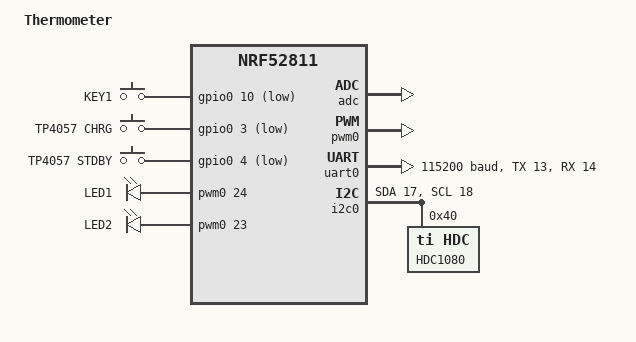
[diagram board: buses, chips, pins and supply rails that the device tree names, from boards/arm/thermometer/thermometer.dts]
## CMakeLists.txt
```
cmake_minimum_required(VERSION 3.20.0)

set(BOARD_ROOT ${CMAKE_CURRENT_LIST_DIR})
set(BOARD thermometer)

find_package(Zephyr REQUIRED HINTS $ENV{ZEPHYR_BASE})
project(thermometer)
FILE(GLOB app_sources src/*.c)
# NORDIC SDK APP START
target_sources(app PRIVATE ${app_sources})
# NORDIC SDK APP END
```

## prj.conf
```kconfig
CONFIG_BT_DEVICE_NAME="Thermometer"

CONFIG_BT=y
CONFIG_BT_HCI=y
CONFIG_BT_PERIPHERAL=y
CONFIG_BT_BAS=y
CONFIG_BT_TPS=y
CONFIG_BT_DIS=y
CONFIG_BT_DIS_FW_REV=y
CONFIG_BT_DIS_FW_REV_STR="1.0.0"
CONFIG_BT_DIS_HW_REV=y
CONFIG_BT_DIS_HW_REV_STR="1.0.0"
CONFIG_BT_DIS_MANUF="Agrocybe"
CONFIG_BT_DIS_MODEL="Thermometer"
CONFIG_BT_DIS_SW_REV=y
CONFIG_BT_DIS_SW_REV_STR="1.0.0"
CONFIG_BT_DIS_SERIAL_NUMBER=y
CONFIG_BT_DIS_SERIAL_NUMBER_STR="123456789"

CONFIG_BT_CTLR_PHY_CODED=y
CONFIG_BT_EXT_ADV=y
CONFIG_BT_USER_PHY_UPDATE=y
CONFIG_BT_GATT_NOTIFY_MULTIPLE=y
```

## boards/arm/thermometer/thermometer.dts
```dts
/dts-v1/;
#include <nordic/nrf52811_qfaa.dtsi>

/ {
	model = "Thermometer";
	compatible = "nordic,nrf52840-dk-nrf52811";

	chosen {
		zephyr,console = &uart0;
		zephyr,shell-uart = &uart0;
		zephyr,uart-mcumgr = &uart0;
		zephyr,bt-mon-uart = &uart0;
		zephyr,bt-c2h-uart = &uart0;
		zephyr,sram = &sram0;
		zephyr,flash = &flash0;
		zephyr,code-partition = &slot0_partition;
		zephyr,entropy = &rng;
	};

	buttons {
		compatible = "gpio-keys";
		button0: button_0 {
			gpios = <&gpio0 10 (GPIO_PULL_UP | GPIO_ACTIVE_LOW)>;
			label = "KEY1";
		};
		charge: button_1 {
			gpios = <&gpio0 3 (GPIO_PULL_UP | GPIO_ACTIVE_LOW)>;
			label = "TP4057 CHRG";
		};
		standby: button_2 {
			gpios = <&gpio0 4 (GPIO_PULL_UP | GPIO_ACTIVE_LOW)>;
			label = "TP4057 STDBY";
		};
	};

	leds {
		compatible = "pwm-leds";
		pwm_led0: pwm_led_0 {
			pwms = <&pwm0 24>;
			label = "LED1";
		};
		pwm_led1: pwm_led_1 {
			pwms = <&pwm0 23>;
			label = "LED2";
		};
	};

	aliases {
		pwm-led0 = &pwm_led0;
		pwm-led1 = &pwm_led1;
		sw0 = &button0;
	};
};

&adc {
	status = "okay";
};

&pwm0 {
	status = "okay";

	ch0-pin = < 24 >;
	ch0-inverted;
	
	ch1-pin = < 23 >;
	ch1-inverted;
};

&gpiote {
	status = "okay";
};

&gpio0 {
	status = "okay";
};

&uart0 {
	compatible = "nordic,nrf-uarte";
	status = "okay";
	current-speed = <115200>;
	tx-pin = <13>;
	rx-pin = <14>;
	rx-pull-up;
};

&i2c0 {
	compatible = "nordic,nrf-twi";
	status = "okay";
	sda-pin = <17>;
	scl-pin = <18>;

	ti_hdc: ti_hdc@40 {
		compatible = "ti,hdc","ti,hdc1080";
		reg = <0x40>;
		label = "HDC1080";
	};
};

&flash0 {

	partitions {
		compatible = "fixed-partitions";
		#address-cells = <1>;
		#size-cells = <1>;

		boot_partition: partition@0 {
			label = "mcuboot";
			reg = <0x00000000 0xc000>;
		};
		slot0_partition: partition@c000 {
			label = "image-0";
			reg = <0x0000C000 0xd000>;
		};
		slot1_partition: partition@19000 {
			label = "image-1";
			reg = <0x00019000 0xd000>;
		};
		scratch_partition: partition@26000 {
			label = "image-scratch";
			reg = <0x00026000 0x3000>;
		};
		storage_partition: partition@29000 {
			label = "storage";
			reg = <0x00029000 0x00007000>;
		};
	};
};
```

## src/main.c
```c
#include <zephyr/types.h>
#include <stddef.h>
#include <string.h>
#include <errno.h>
#include <sys/printk.h>
#include <zephyr.h>

#include <bluetooth/bluetooth.h>
#include <bluetooth/conn.h>
#include <bluetooth/uuid.h>
#include <bluetooth/gatt.h>
#include <bluetooth/services/bas.h>

#include <drivers/sensor.h>
#include <drivers/gpio.h>
#include <drivers/pwm.h>

#include "ess.h"

const struct device *hdc1080 = DEVICE_DT_GET(DT_INST(0, ti_hdc));

static const struct bt_data ad[] = {
	BT_DATA_BYTES(BT_DATA_FLAGS, (BT_LE_AD_GENERAL | BT_LE_AD_NO_BREDR)),
	BT_DATA_BYTES(BT_DATA_UUID16_ALL, BT_UUID_16_ENCODE(BT_UUID_ESS_VAL)),
};

static void connected(struct bt_conn *conn, uint8_t conn_err)
{
	int err;
	struct bt_conn_info info;
	char addr[BT_ADDR_LE_STR_LEN];

	bt_addr_le_to_str(bt_conn_get_dst(conn), addr, sizeof(addr));

	if (conn_err) {
		printk("Connection failed (err %d)\n", conn_err);
		return;
	}

	err = bt_conn_get_info(conn, &info);

	if (err) {
		printk("Failed to get connection info\n");
	} else {
		const struct bt_conn_le_phy_info *phy_info;
		phy_info = info.le.phy;

		printk("Connected: %s, tx_phy %u, rx_phy %u\n",
		       addr, phy_info->tx_phy, phy_info->rx_phy);
	}
}

static void disconnected(struct bt_conn *conn, uint8_t reason)
{
	printk("Disconnected (reason 0x%02x)\n", reason);
}

static struct bt_conn_cb conn_callbacks = {
	.connected = connected,
	.disconnected = disconnected,
};

static void bt_ready(int err)
{
	printk("Bluetooth initialized\n");

	err = bt_le_adv_start(BT_LE_ADV_CONN_NAME, ad, ARRAY_SIZE(ad), NULL, 0);
	if (err) {
		printk("Advertising failed to create (err %d)\n", err);
		return;
	}
}

static void bas_notify(void)
{
	uint8_t battery_level = 0;

	bt_bas_set_battery_level(battery_level);
}

static void ess_notify(const struct device *dev)
{
	struct sensor_value temperature, humidity;
	sensor_sample_fetch(dev);
	sensor_channel_get(dev, SENSOR_CHAN_AMBIENT_TEMP, &temperature);
	sensor_channel_get(dev, SENSOR_CHAN_HUMIDITY, &humidity);
	
	uint16_t humidity_value = humidity.val1 * 100;
	humidity_value += humidity.val2 / 10000;
	
	int16_t temperature_value = temperature.val1 * 100;
	temperature_value += temperature.val2 / 10000;

	int rc = bt_ess_set_temperature_and_humidity(temperature_value, humidity_value);
	printk("Temperature: %04"PRId16" Humidity: %04"PRIu16" ret: %d\n", temperature_value, humidity_value, rc);
}

void main(void)
{
	int err;

	if (!device_is_ready(hdc1080)) {
		printk("HDC1080 not ready\n");
	}
	
	bt_conn_cb_register(&conn_callbacks);
	
	err = bt_enable(bt_ready);
	if (err) {
		printk("Bluetooth init failed (err %d)\n", err);
		return;
	}

	while (1) {
		k_sleep(K_SECONDS(1));

		bas_notify();

		ess_notify(hdc1080);
	}
}
```

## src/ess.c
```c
#include <errno.h>
#include <init.h>
#include <sys/__assert.h>
#include <stdbool.h>
#include <zephyr/types.h>
#include <device.h>

#include <bluetooth/bluetooth.h>
#include <bluetooth/conn.h>
#include <bluetooth/gatt.h>
#include <bluetooth/uuid.h>

#define BT_UUID_ESS_TEMPERATURE_VAL 0x2A6E
#define BT_UUID_ESS_TEMPERATURE BT_UUID_DECLARE_16(BT_UUID_ESS_TEMPERATURE_VAL)

#define BT_UUID_ESS_HUMIDITY_VAL 0x2A6F
#define BT_UUID_ESS_HUMIDITY BT_UUID_DECLARE_16(BT_UUID_ESS_HUMIDITY_VAL)

static uint8_t humidity[2];
static uint8_t temperature[2];
static bool temperature_notif_enabled, humidity_notif_enabled;

static void ess_temperature_ccc_cfg_changed(const struct bt_gatt_attr *attr, uint16_t value)
{
	ARG_UNUSED(attr);

	temperature_notif_enabled = (value == BT_GATT_CCC_NOTIFY);

	printk("Temperature Notifications %s\n", temperature_notif_enabled ? "enabled" : "disabled");
}

static void ess_humidity_ccc_cfg_changed(const struct bt_gatt_attr *attr, uint16_t value)
{
	ARG_UNUSED(attr);

	humidity_notif_enabled = (value == BT_GATT_CCC_NOTIFY);

	printk("Humidity Notifications %s\n", humidity_notif_enabled ? "enabled" : "disabled");
}

static ssize_t read_temperature(struct bt_conn *conn,
			       const struct bt_gatt_attr *attr, void *buf,
			       uint16_t len, uint16_t offset)
{
	return bt_gatt_attr_read(conn, attr, buf, len, offset, &temperature, sizeof(temperature));
}

static ssize_t read_humidity(struct bt_conn *conn,
			       const struct bt_gatt_attr *attr, void *buf,
			       uint16_t len, uint16_t offset)
{
	return bt_gatt_attr_read(conn, attr, buf, len, offset, &humidity, sizeof(humidity));
}

BT_GATT_SERVICE_DEFINE(ess,
	BT_GATT_PRIMARY_SERVICE(BT_UUID_ESS),
	BT_GATT_CHARACTERISTIC(BT_UUID_ESS_TEMPERATURE,
			       BT_GATT_CHRC_READ | BT_GATT_CHRC_NOTIFY,
			       BT_GATT_PERM_READ, read_temperature, NULL,
			       temperature),
	BT_GATT_CCC(ess_temperature_ccc_cfg_changed, BT_GATT_PERM_READ | BT_GATT_PERM_WRITE),
	BT_GATT_CUD("Temperature", BT_GATT_PERM_READ),
	BT_GATT_CHARACTERISTIC(BT_UUID_ESS_HUMIDITY,
			       BT_GATT_CHRC_READ | BT_GATT_CHRC_NOTIFY,
			       BT_GATT_PERM_READ, read_humidity, NULL,
			       humidity),
	BT_GATT_CCC(ess_humidity_ccc_cfg_changed, BT_GATT_PERM_READ | BT_GATT_PERM_WRITE),
	BT_GATT_CUD("Humidity", BT_GATT_PERM_READ)
);

static int ess_init(void)
{
	return 0;
}

int bt_ess_set_temperature_and_humidity(uint16_t temperature_value, int16_t humidity_value)
{
	int rc = 0;

	static uint16_t old_humidity_value;
	static int16_t old_temperature_value;

	struct bt_gatt_notify_params params[] = {
		{
			.uuid = BT_UUID_ESS_HUMIDITY,
			.attr = &ess.attrs[5],
			.data = humidity,
			.len = sizeof humidity,
		},
		{
			.uuid = BT_UUID_ESS_TEMPERATURE,
			.attr = &ess.attrs[1],
			.data = temperature,
			.len = sizeof temperature,
		},
	};

	if (humidity_notif_enabled && old_humidity_value != humidity_value) {
		old_humidity_value = humidity_value;
		humidity[0] = humidity_value;
		humidity[1] = humidity_value >> 8;

		rc = bt_gatt_notify_cb(NULL, &params[0]);
		if (rc != -ENOTCONN && rc != 0) {
			printk("bt_gatt_notify_cb: %d\n", rc);
			return rc;
		}
	}

	if (temperature_notif_enabled && old_temperature_value != temperature_value) {
		old_temperature_value = temperature_value;
		temperature[0] = temperature_value;
		temperature[1] = temperature_value >> 8;

		rc = bt_gatt_notify_cb(NULL, &params[1]);
		if (rc != -ENOTCONN && rc != 0) {
			printk("bt_gatt_notify_cb: %d\n", rc);
			return rc;
		}
	}

	return 0;
}

SYS_INIT(ess_init, APPLICATION, CONFIG_APPLICATION_INIT_PRIORITY);
```

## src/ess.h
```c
#ifndef ESS_H
#define ESS_H

#ifdef __cplusplus
extern "C" {
#endif

#include <stdint.h>

int bt_ess_set_temperature_and_humidity(uint16_t temperature_value, int16_t humidity_value);

#ifdef __cplusplus
}
#endif

#endif // ESS_H
```
